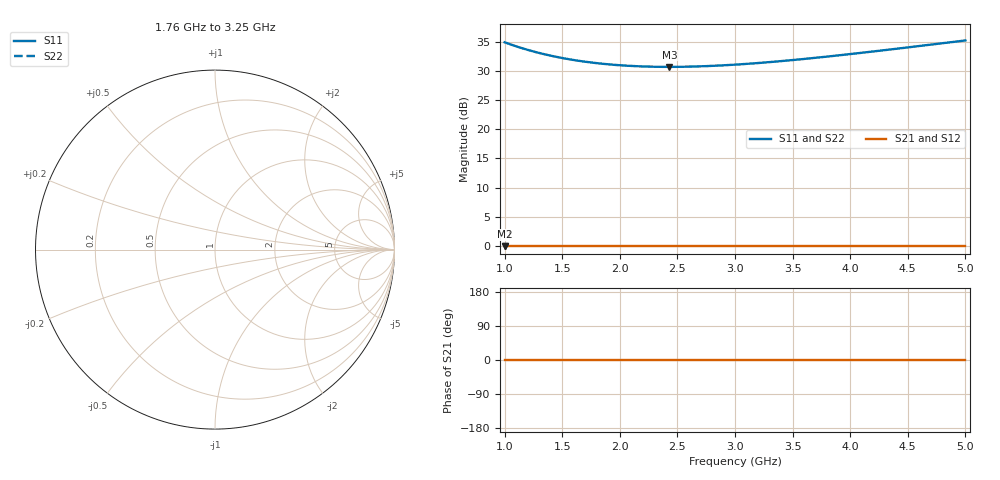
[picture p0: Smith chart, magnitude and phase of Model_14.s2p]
# GHZ S RI R 50
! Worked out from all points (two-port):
!   401 points, 1 GHz to 5 GHz, reference 50 ohm
!   highest |S21| = 0.00 dB at 1 GHz (marker M1); lowest = 0.0 dB at 1 GHz (marker M2)
!   |S21| within 3 dB of the highest: start of sweep to end of sweep
!   lowest |S11| = 30.7 dB at 2.43 GHz (marker M3)
!   |S11| at or under -10 dB: nowhere
!   |S22| runs from 30.7 to 35.2 dB; largest |S21 - S12| = 0
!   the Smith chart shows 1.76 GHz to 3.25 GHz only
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1  55.53 0  1 0  1 0  55.53 0
1.02  54.6 0  1 0  1 0  54.6 0
1.15  49.43 0  1 0  1 0  49.43 0
1.22  47.17 0  1 0  1 0  47.17 0
1.3  44.95 0  1 0  1 0  44.95 0
1.38  43.05 0  1 0  1 0  43.05 0
1.47  41.24 0  1 0  1 0  41.24 0
1.57  39.56 0  1 0  1 0  39.56 0
1.67  38.19 0  1 0  1 0  38.19 0
1.82  36.6 0  1 0  1 0  36.6 0
1.98  35.41 0  1 0  1 0  35.41 0
2.15  34.62 0  1 0  1 0  34.62 0
2.34  34.21 0  1 0  1 0  34.21 0
2.43  34.17 0  1 0  1 0  34.17 0
2.71  34.57 0  1 0  1 0  34.57 0
3  35.71 0  1 0  1 0  35.71 0
3.33  37.76 0  1 0  1 0  37.76 0
3.67  40.59 0  1 0  1 0  40.59 0
4  43.97 0  1 0  1 0  43.97 0
4.34  48.04 0  1 0  1 0  48.04 0
4.64  52.1 0  1 0  1 0  52.1 0
5  57.52 0  1 0  1 0  57.52 0
